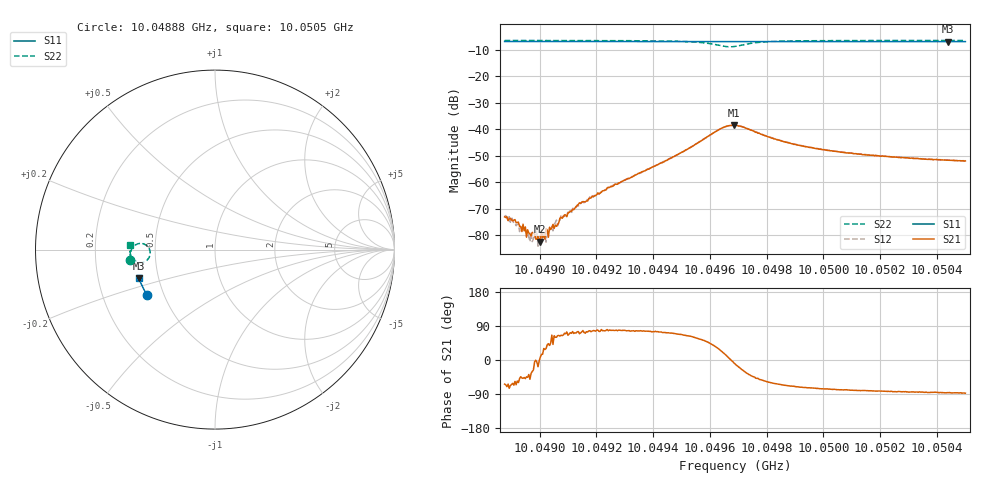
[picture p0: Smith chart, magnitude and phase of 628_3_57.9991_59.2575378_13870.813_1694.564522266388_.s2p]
#  HZ  S  RI  R  50.00
! Rohde & Schwarz Vector Network Analyzer
! Rohde-Schwarz,ZNB20-2Port,1311601062101988,3.16
! Created: UTC 3/21/2024, 1:18:26 AM
! freq[Hz]  re:S11  im:S11  re:S21  im:S21  re:S12  im:S12  re:S22  im:S22
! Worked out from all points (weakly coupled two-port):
!   401 points, 10.04888 GHz to 10.0505 GHz, reference 50 ohm
!   highest |S21| = -38.42 dB at 10.04968 GHz (marker M1); lowest = -82.4 dB at 10.049 GHz (marker M2)
!   lowest |S11| = -6.9 dB at 10.05044 GHz (marker M3), VSWR 2.65, Z = 19.4 - j7.82 ohm
!   |S11| at or under -10 dB: nowhere
!   |S22| runs from -8.8 to -6.4 dB; largest |S21 - S12| = 0.00093
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1.0048877e10  -0.3789 -0.2524  9.9e-05 -0.000199  0.0001 -0.000204  -0.4725 -0.0587
1.0048918e10  -0.3803 -0.2501  7.23e-05 -0.000157  8.56e-05 -0.000125  -0.4727 -0.0555
1.0048938e10  -0.3811 -0.2489  7.92e-05 -8.68e-05  9.55e-05 -9.34e-05  -0.4726 -0.0539
1.0048942e10  -0.381 -0.2487  0.000107 -0.000121  9.22e-05 -0.000111  -0.4728 -0.0536
1.0048962e10  -0.3817 -0.2477  8.64e-05 -6.84e-05  8.07e-05 -4.93e-05  -0.4728 -0.0519
1.0048995e10  -0.383 -0.2457  9.16e-05 -2.9e-05  6.09e-05 1.3e-05  -0.4729 -0.0493
1.0049003e10  -0.3831 -0.2453  7.54e-05 1.02e-05  8.6e-05 3.33e-05  -0.473 -0.0485
1.0049027e10  -0.3841 -0.244  9.55e-05 8.11e-05  8.7e-05 8.97e-05  -0.4732 -0.0465
1.004906e10  -0.3851 -0.2421  7.41e-05 0.000128  0.000104 0.000163  -0.4732 -0.0437
1.004908e10  -0.3858 -0.2407  9.08e-05 0.00019  7.97e-05 0.000196  -0.4732 -0.042
1.0049149e10  -0.3881 -0.2369  0.000117 0.000405  0.000108 0.000407  -0.473 -0.0354
1.0049255e10  -0.3915 -0.2309  0.00017 0.000825  0.000124 0.000809  -0.4721 -0.0245
1.0049421e10  -0.3965 -0.221  0.000618 0.00213  0.000463 0.00216  -0.4663 -0.00165
1.0049555e10  -0.4006 -0.213  0.00289 0.00459  0.00261 0.00475  -0.441 0.0275
1.004964e10  -0.4024 -0.2079  0.00953 0.00422  0.00917 0.00483  -0.3781 0.0205
1.0049685e10  -0.4031 -0.2058  0.0119 -0.00159  0.0119 -0.00066  -0.3633 -0.0346
1.0049689e10  -0.4031 -0.2056  0.0117 -0.00206  0.0118 -0.00121  -0.3654 -0.0399
1.004979e10  -0.4067 -0.2  0.00448 -0.00632  0.00489 -0.00607  -0.4412 -0.0656
1.0049961e10  -0.4116 -0.1897  0.00125 -0.00433  0.00148 -0.00425  -0.4697 -0.0298
1.0050233e10  -0.4185 -0.1731  0.000369 -0.00302  0.000536 -0.00302  -0.475 0.00147
1.005044e10  -0.4231 -0.1604  0.000169 -0.0026  0.000349 -0.00259  -0.4752 0.0192
1.0050501e10  -0.4245 -0.1567  0.000105 -0.00253  0.000291 -0.00254  -0.4752 0.0241
